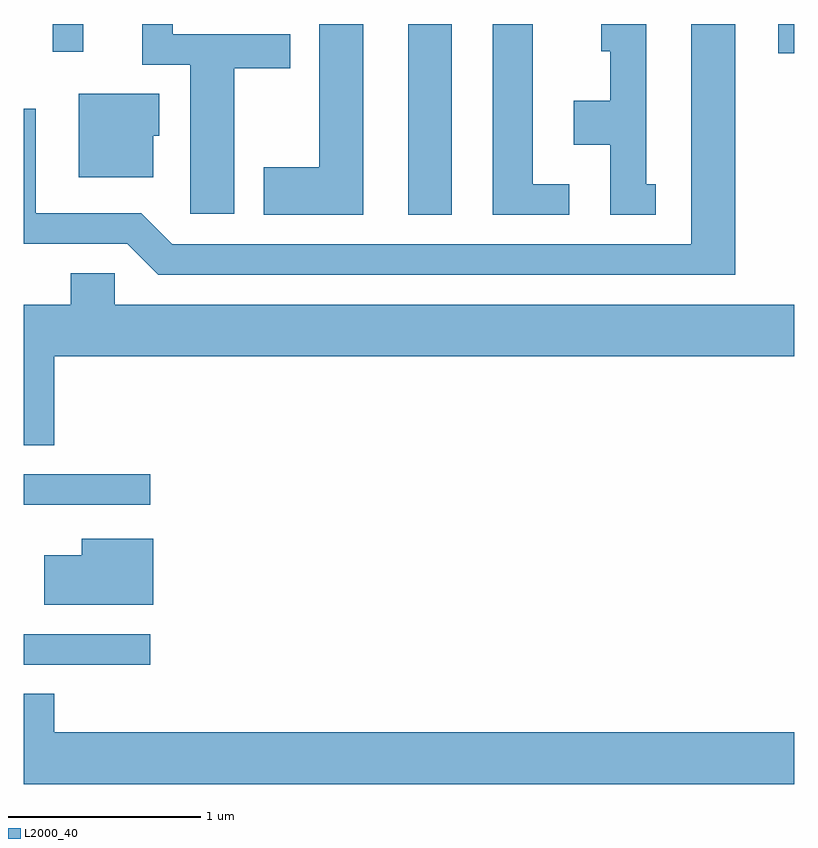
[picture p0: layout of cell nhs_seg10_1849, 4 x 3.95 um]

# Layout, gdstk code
import gdstk
lib = gdstk.Library(unit=1e-6, precision=1e-09)
def R(c, l, rs):  # rectangles x0, y0, x1, y1
    for r in rs: c.add(gdstk.rectangle(r[:2], r[2:], *l))
def P(c, l, *ps):  # polygons
    for p in ps: c.add(gdstk.Polygon(p, *l))
L2000_40 = (2000, 40)

nhs_seg10_1849 = lib.new_cell('nhs_seg10_1849')
R(nhs_seg10_1849, L2000_40, [(239.611,2121.196,240.268,2121.354), (239.611,2122.026,240.268,2122.184), (241.606,2123.531,241.834,2124.522), (243.528,2124.371,243.611,2124.522), (239.761,2124.378,239.919,2124.522)])
P(nhs_seg10_1849, L2000_40, [(243.304,2124.522),(243.076,2124.522),(243.076,2123.379),(240.382,2123.379),(240.222,2123.539),(239.674,2123.539),(239.674,2124.083),(239.611,2124.083),(239.611,2123.381),(240.149,2123.381),(240.309,2123.221),(243.304,2123.221)],
  [(242.893,2123.689),(242.844,2123.689),(242.844,2124.522),(242.608,2124.522),(242.608,2124.381),(242.656,2124.381),(242.656,2124.124),(242.466,2124.124),(242.466,2123.896),(242.656,2123.896),(242.656,2123.531),(242.893,2123.531)],
  [(242.443,2123.689),(242.254,2123.689),(242.254,2124.522),(242.046,2124.522),(242.046,2123.531),(242.443,2123.531)],
  [(241.374,2124.522),(241.146,2124.522),(241.146,2123.779),(240.856,2123.779),(240.856,2123.531),(241.374,2123.531)],
  [(240.704,2124.291),(240.994,2124.291),(240.994,2124.469),(240.384,2124.469),(240.384,2124.522),(240.226,2124.522),(240.226,2124.311),(240.476,2124.311),(240.476,2123.536),(240.704,2123.536)],
  [(240.284,2123.941),(240.314,2123.941),(240.314,2124.159),(239.896,2124.159),(239.896,2123.726),(240.284,2123.726)],
  [(239.611,2122.336),(239.769,2122.336),(239.769,2122.796),(243.611,2122.796),(243.611,2123.064),(240.084,2123.064),(240.084,2123.229),(239.856,2123.229),(239.856,2123.064),(239.611,2123.064)],
  [(240.284,2121.849),(239.911,2121.849),(239.911,2121.764),(239.716,2121.764),(239.716,2121.506),(240.284,2121.506)],
  [(243.611,2120.844),(239.769,2120.844),(239.769,2121.044),(239.611,2121.044),(239.611,2120.576),(243.611,2120.576)])

lib.write_gds('nhs_seg10_1849.gds')
